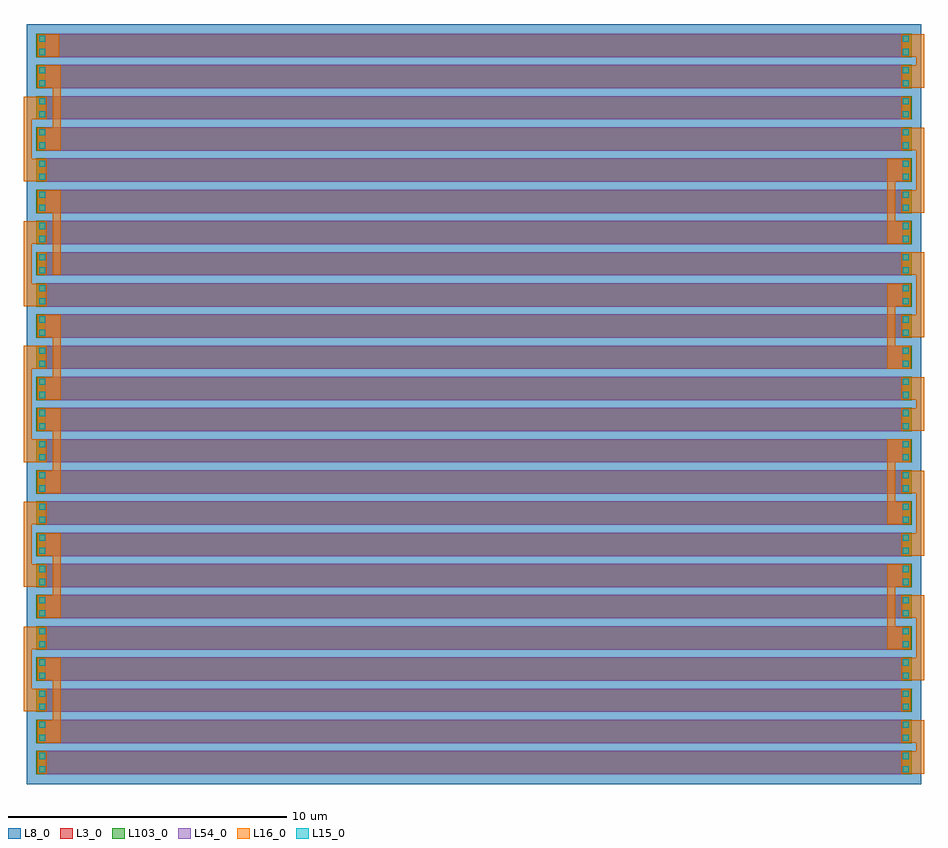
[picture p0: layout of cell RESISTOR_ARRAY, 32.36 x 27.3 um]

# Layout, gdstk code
import gdstk
lib = gdstk.Library(unit=1e-6, precision=1e-09)
def R(c, l, rs):  # rectangles x0, y0, x1, y1
    for r in rs: c.add(gdstk.rectangle(r[:2], r[2:], *l))
def A(c, l, x, y, w, h, nx, ny, dx, dy):  # array of equal rectangles
    R(c, l, [(x+i*dx, y+j*dy, x+i*dx+w, y+j*dy+h) for i in range(nx) for j in range(ny)])
L3_0 = (3, 0)
L8_0 = (8, 0)
L15_0 = (15, 0)
L16_0 = (16, 0)
L54_0 = (54, 0)
L103_0 = (103, 0)

resistor_array = lib.new_cell('RESISTOR_ARRAY')
A(resistor_array, L3_0, -0.32, 0, 31.44, 0.84, 1, 24, 0, 1.12)
A(resistor_array, L8_0, -0.67, -0.35, 32.14, 1.54, 1, 24, 0, 1.12)
R(resistor_array, L15_0, [(-0.22,0.075,0,0.295), (30.8,0.075,31.02,0.295), (-0.22,0.545,0,0.765), (30.8,0.545,31.02,0.765), (-0.22,1.195,0,1.415), (30.8,1.195,31.02,1.415), (-0.22,1.665,0,1.885), (30.8,1.665,31.02,1.885), (-0.22,2.315,0,2.535), (30.8,2.315,31.02,2.535), (-0.22,2.785,0,3.005), (30.8,2.785,31.02,3.005), (-0.22,3.435,0,3.655), (30.8,3.435,31.02,3.655), (-0.22,3.905,0,4.125), (30.8,3.905,31.02,4.125), (-0.22,4.555,0,4.775), (30.8,4.555,31.02,4.775), (-0.22,5.025,0,5.245), (30.8,5.025,31.02,5.245), (-0.22,5.675,0,5.895), (30.8,5.675,31.02,5.895), (-0.22,6.145,0,6.365), (30.8,6.145,31.02,6.365), (-0.22,6.795,0,7.015), (30.8,6.795,31.02,7.015), (-0.22,7.265,0,7.485), (30.8,7.265,31.02,7.485), (-0.22,7.915,0,8.135), (30.8,7.915,31.02,8.135), (-0.22,8.385,0,8.605), (30.8,8.385,31.02,8.605), (-0.22,9.035,0,9.255), (30.8,9.035,31.02,9.255), (-0.22,9.505,0,9.725), (30.8,9.505,31.02,9.725), (-0.22,10.155,0,10.375), (30.8,10.155,31.02,10.375), (-0.22,10.625,0,10.845), (30.8,10.625,31.02,10.845), (-0.22,11.275,0,11.495), (30.8,11.275,31.02,11.495), (-0.22,11.745,0,11.965), (30.8,11.745,31.02,11.965), (-0.22,12.395,0,12.615), (30.8,12.395,31.02,12.615), (-0.22,12.865,0,13.085), (30.8,12.865,31.02,13.085), (-0.22,13.515,0,13.735), (30.8,13.515,31.02,13.735), (-0.22,13.985,0,14.205), (30.8,13.985,31.02,14.205), (-0.22,14.635,0,14.855), (30.8,14.635,31.02,14.855), (-0.22,15.105,0,15.325), (30.8,15.105,31.02,15.325), (-0.22,15.755,0,15.975), (30.8,15.755,31.02,15.975), (-0.22,16.225,0,16.445), (30.8,16.225,31.02,16.445), (-0.22,16.875,0,17.095), (30.8,16.875,31.02,17.095), (-0.22,17.345,0,17.565), (30.8,17.345,31.02,17.565), (-0.22,17.995,0,18.215), (30.8,17.995,31.02,18.215), (-0.22,18.465,0,18.685), (30.8,18.465,31.02,18.685), (-0.22,19.115,0,19.335), (30.8,19.115,31.02,19.335), (-0.22,19.585,0,19.805), (30.8,19.585,31.02,19.805), (-0.22,20.235,0,20.455), (30.8,20.235,31.02,20.455), (-0.22,20.705,0,20.925), (30.8,20.705,31.02,20.925), (-0.22,21.355,0,21.575), (30.8,21.355,31.02,21.575), (-0.22,21.825,0,22.045), (30.8,21.825,31.02,22.045), (-0.22,22.475,0,22.695), (30.8,22.475,31.02,22.695), (-0.22,22.945,0,23.165), (30.8,22.945,31.02,23.165), (-0.22,23.595,0,23.815), (30.8,23.595,31.02,23.815), (-0.22,24.065,0,24.285), (30.8,24.065,31.02,24.285), (-0.22,24.715,0,24.935), (30.8,24.715,31.02,24.935), (-0.22,25.185,0,25.405), (30.8,25.185,31.02,25.405), (-0.22,25.835,0,26.055), (30.8,25.835,31.02,26.055), (-0.22,26.305,0,26.525), (30.8,26.305,31.02,26.525)])
A(resistor_array, L16_0, -0.28, 0.015, 0.34, 0.81, 1, 24, 0, 1.12)
A(resistor_array, L16_0, 30.74, 0.015, 0.34, 0.81, 1, 24, 0, 1.12)
A(resistor_array, L16_0, 31.29, 0.015, 0.29, 1.93, 1, 3, 0, 12.32)
A(resistor_array, L16_0, -0.28, 1.135, 0.79, 0.81, 1, 6, 0, 2.24)
A(resistor_array, L16_0, 0.27, 1.135, 0.29, 3.05, 1, 3, 0, 4.48)
A(resistor_array, L16_0, 30.74, 1.135, 0.79, 0.81, 1, 6, 0, 2.24)
A(resistor_array, L16_0, -0.49, 2.255, 0.21, 0.81, 1, 5, 0, 2.24)
A(resistor_array, L16_0, 30.53, 4.495, 0.21, 0.81, 1, 4, 0, 2.24)
A(resistor_array, L16_0, 0.27, 13.455, 0.29, 3.05, 1, 3, 0, 4.48)
A(resistor_array, L16_0, 30.74, 13.455, 0.79, 0.81, 1, 6, 0, 2.24)
A(resistor_array, L16_0, -0.49, 14.575, 0.21, 0.81, 1, 5, 0, 2.24)
A(resistor_array, L16_0, 30.53, 14.575, 0.21, 0.81, 1, 4, 0, 2.24)
A(resistor_array, L16_0, -0.28, 20.175, 0.79, 0.81, 1, 3, 0, 2.24)
R(resistor_array, L16_0, [(30.74,0.015,31.53,0.825), (-0.78,2.255,-0.49,5.305), (31.29,3.375,31.58,6.425), (30.24,4.495,30.53,7.545), (-0.78,6.735,-0.49,9.785), (31.29,7.855,31.58,10.905), (30.24,8.975,30.53,12.025), (-0.78,11.215,-0.49,15.385), (-0.28,13.455,0.51,14.265), (30.24,14.575,30.53,17.625), (-0.28,15.695,0.51,16.505), (31.29,15.695,31.58,18.745), (-0.78,16.815,-0.49,19.865), (30.24,19.055,30.53,22.105), (31.29,20.175,31.58,23.225), (-0.78,21.295,-0.49,24.345), (-0.28,25.775,0.51,26.585), (30.74,25.775,31.53,26.585)])
A(resistor_array, L54_0, 0, 0, 30.8, 0.84, 1, 24, 0, 1.12)
A(resistor_array, L103_0, -0.32, 0, 31.44, 0.84, 1, 24, 0, 1.12)

lib.write_gds('RESISTOR_ARRAY.gds')
